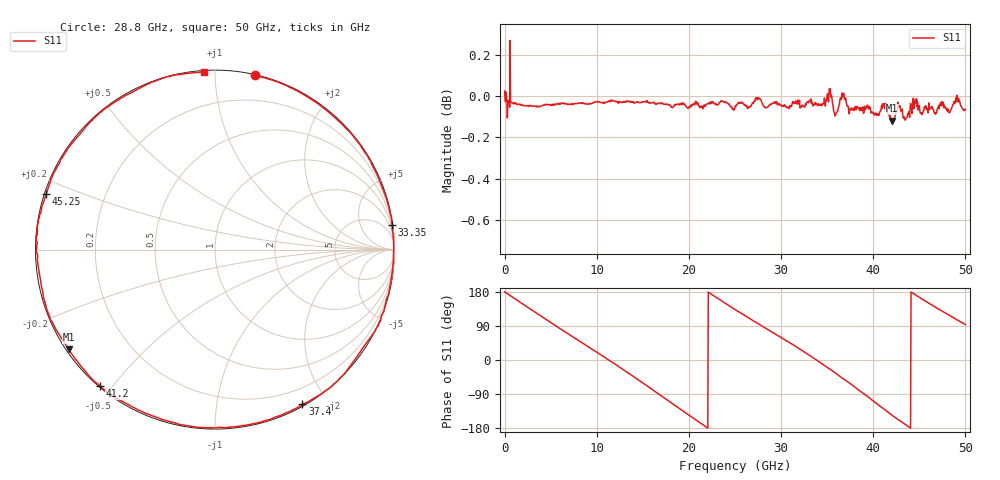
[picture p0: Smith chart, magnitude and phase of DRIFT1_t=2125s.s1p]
!Created with skrf (http://scikit-rf.org).
# Hz S RI R 50.0
!freq ReS11 ImS11
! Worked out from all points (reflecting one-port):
!   1001 points, 300 kHz to 50 GHz, reference 50 ohm
!   lowest |S11| = -0.1 dB at 42.05 GHz (marker M1), VSWR 145.47, Z = 0.376 - j15.4 ohm
!   phase of S11 starts at 180 deg and turns -806 deg over the sweep
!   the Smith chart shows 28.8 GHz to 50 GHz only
!   S11 on the Smith chart (normalised r, x): 28.8 GHz: 0.01, +1.25; 33.35 GHz: 0, +14; 37.4 GHz: 0.02, -1.71; 41.2 GHz: 0.00, -0.47; 45.25 GHz: 0.00, +0.16; 50 GHz: 0.01, +0.94
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300000  -1.003 0.000292
1.65029e9  -0.8867 0.4518
3.500279e9  -0.5393 0.835
6.250262e9  0.1882 0.9782
9.650242e9  0.8942 0.4391
1.250022e10  0.9402 -0.3308
1.400022e10  0.7191 -0.6903
1.58502e10  0.2611 -0.9614
1.73002e10  -0.1675 -0.9811
1.875019e10  -0.5668 -0.8185
2.040018e10  -0.8837 -0.4582
2.190017e10  -0.9942 -0.0478
2.345016e10  -0.9225 0.3785
2.500015e10  -0.6787 0.7262
2.705014e10  -0.2166 0.973
2.880013e10  0.2222 0.9702
3.125011e10  0.7521 0.6545
3.33501e10  0.9871 0.1379
3.530009e10  0.9153 -0.408
3.740008e10  0.4871 -0.8621
3.750008e10  0.46 -0.8799
3.935006e10  -0.0945 -0.9905
4.120005e10  -0.6412 -0.7621
4.205005e10  -0.8154 -0.555
4.375004e10  -0.9864 -0.0865
4.525003e10  -0.9404 0.3114
4.755001e10  -0.6129 0.7847
5e10  -0.0625 0.9907
